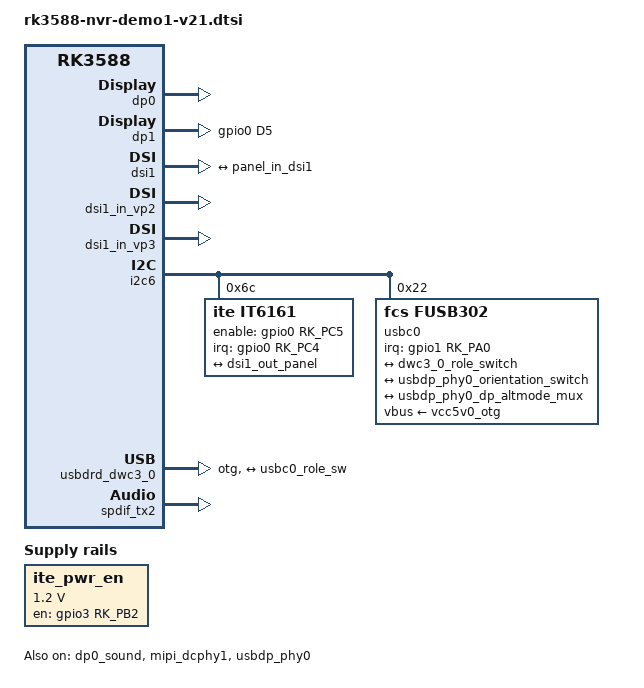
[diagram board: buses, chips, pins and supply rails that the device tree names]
// SPDX-License-Identifier: (GPL-2.0+ OR MIT)
/*
 * Copyright (c) 2021 Rockchip Electronics Co., Ltd.
 *
 */
#include "dt-bindings/usb/pd.h"
#include "rk3588-nvr-demo.dtsi"


/ {
	ite_pwr_en: ite-pwr-en {
		compatible = "regulator-fixed";
		regulator-name = "ITE-PWR_EN";
		regulator-min-microvolt = <1200000>;
		regulator-max-microvolt = <1200000>;
		regulator-boot-on;
		regulator-always-on;
		enable-active-high;
		gpio = <&gpio3 RK_PB2 GPIO_ACTIVE_HIGH>;
	};
};

&dp0 {
	/delete-property/ pinctrl-0;
	/delete-property/ pinctrl-names;
	status = "okay";
};

&dp0_sound {
	status = "okay";
};

&dp1 {
	pinctrl-0 = <&dp1m2_pins &dp1_hdmi_reset>;
	pinctrl-names = "default";
	status = "okay";
};

&dsi1 {
	status = "okay";

	ports {
		#address-cells = <1>;
		#size-cells = <0>;

		port@1 {
			reg = <1>;
			dsi1_out_panel: endpoint {
				remote-endpoint = <&panel_in_dsi1>;
			};
		};
	};
};

&dsi1_in_vp2 {
	status = "okay";
};

&dsi1_in_vp3 {
	status = "okay";
};

&i2c6 {
	status = "okay";

	it6161: it6161@6c {
		status = "okay";
		compatible = "ite,it6161";
		#sound-dai-cells = <0>;
		reg = <0x6c>;
		it6161-addr-hdmi-tx = <0x4C>;
		it6161-addr-cec = <0x4E>;
		interrupt-parent = <&gpio0>;
		interrupts = <RK_PC4 IRQ_TYPE_LEVEL_HIGH>;
		enable-gpios = <&gpio0 RK_PC5 GPIO_ACTIVE_HIGH>;

		ports {
			#address-cells = <1>;
			#size-cells = <0>;
			port@0 {
				reg = <0>;
				panel_in_dsi1: endpoint {
					remote-endpoint = <&dsi1_out_panel>;
				};
			};
		};
	};

	usbc0: fusb302@22 {
		compatible = "fcs,fusb302";
		reg = <0x22>;
		interrupt-parent = <&gpio1>;
		interrupts = <RK_PA0 IRQ_TYPE_LEVEL_LOW>;
		pinctrl-names = "default";
		pinctrl-0 = <&usbc0_int>;
		vbus-supply = <&vcc5v0_otg>;
		status = "okay";

		ports {
			#address-cells = <1>;
			#size-cells = <0>;

			port@0 {
				reg = <0>;
				usbc0_role_sw: endpoint@0 {
					remote-endpoint = <&dwc3_0_role_switch>;
				};
			};
		};

		usb_con: connector {
			compatible = "usb-c-connector";
			label = "USB-C";
			data-role = "dual";
			power-role = "dual";
			try-power-role = "sink";
			op-sink-microwatt = <1000000>;
			sink-pdos =
				<PDO_FIXED(5000, 1000, PDO_FIXED_USB_COMM)>;
			source-pdos =
				<PDO_FIXED(5000, 3000, PDO_FIXED_USB_COMM)>;

			altmodes {
				#address-cells = <1>;
				#size-cells = <0>;

				altmode@0 {
					reg = <0>;
					svid = <0xff01>;
					vdo = <0xffffffff>;
				};
			};

			ports {
				#address-cells = <1>;
				#size-cells = <0>;

				port@0 {
					reg = <0>;
					usbc0_orien_sw: endpoint {
						remote-endpoint = <&usbdp_phy0_orientation_switch>;
					};
				};

				port@1 {
					reg = <1>;
					dp_altmode_mux: endpoint {
						remote-endpoint = <&usbdp_phy0_dp_altmode_mux>;
					};
				};
			};
		};
	};
};

&mipi_dcphy1 {
	status = "okay";
};

&route_dp0 {
	status = "disabled";
};

&usbdp_phy0 {
	status = "okay";
	rockchip,dp-lane-mux = < 0 1 2 3 >;
	orientation-switch;
	svid = <0xff01>;
	sbu1-dc-gpios = <&gpio0 RK_PC6 GPIO_ACTIVE_HIGH>;
	sbu2-dc-gpios = <&gpio0 RK_PD3 GPIO_ACTIVE_HIGH>;

	port {
		#address-cells = <1>;
		#size-cells = <0>;
		usbdp_phy0_orientation_switch: endpoint@0 {
			reg = <0>;
			remote-endpoint = <&usbc0_orien_sw>;
		};

		usbdp_phy0_dp_altmode_mux: endpoint@1 {
			reg = <1>;
			remote-endpoint = <&dp_altmode_mux>;
		};
	};
};

&usbdrd_dwc3_0 {
	dr_mode = "otg";
	usb-role-switch;
	port {
		#address-cells = <1>;
		#size-cells = <0>;
		dwc3_0_role_switch: endpoint@0 {
			reg = <0>;
			remote-endpoint = <&usbc0_role_sw>;
		};
	};
};

&spdif_tx2 {
	status = "okay";
};

&pinctrl {
	dp {
		dp1_hdmi_reset: dp-hdmi-reset {
			rockchip,pins = <0 RK_PD5 RK_FUNC_GPIO &pcfg_pull_up>;
		};
	};

	usb-typec {
		usbc0_int: usbc0-int {
			rockchip,pins = <1 RK_PA0 RK_FUNC_GPIO &pcfg_pull_up>;
		};
	};
};
